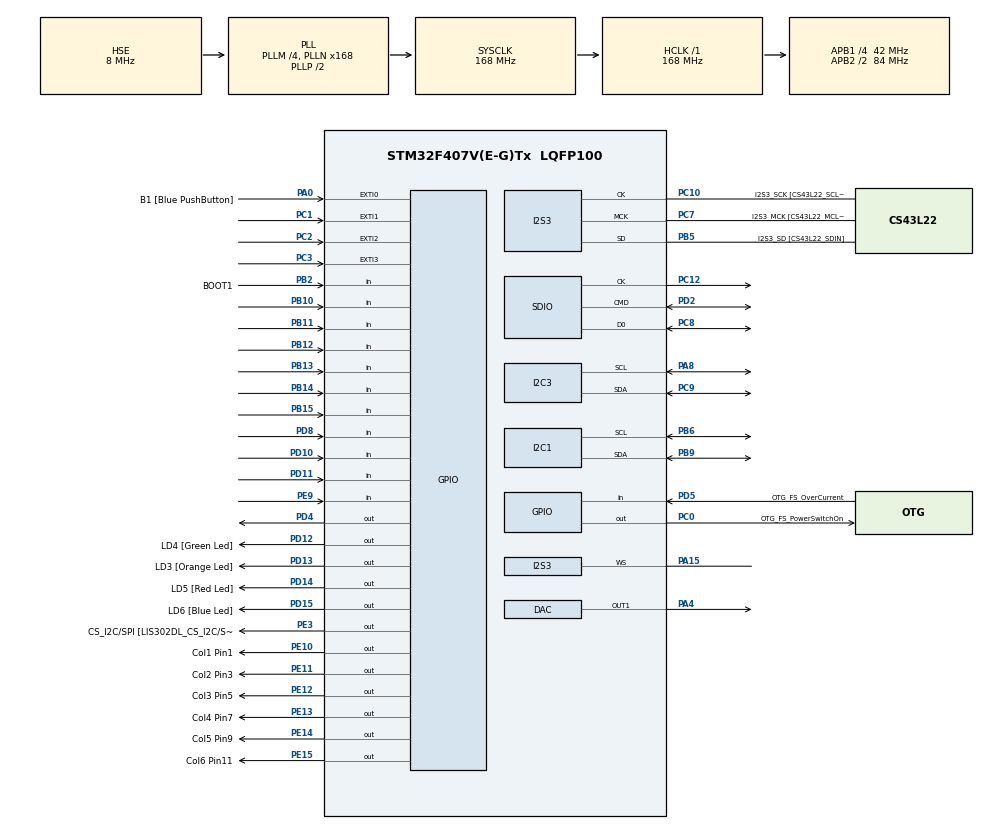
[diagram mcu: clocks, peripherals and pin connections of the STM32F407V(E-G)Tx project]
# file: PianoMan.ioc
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Dma.Request0=SPI3_TX
Dma.Request1=TIM1_UP
Dma.SPI3_TX.0.Direction=DMA_MEMORY_TO_PERIPH
Dma.SPI3_TX.0.FIFOMode=DMA_FIFOMODE_ENABLE
Dma.SPI3_TX.0.FIFOThreshold=DMA_FIFO_THRESHOLD_FULL
Dma.SPI3_TX.0.Instance=DMA1_Stream5
Dma.SPI3_TX.0.MemBurst=DMA_MBURST_SINGLE
Dma.SPI3_TX.0.MemDataAlignment=DMA_MDATAALIGN_BYTE
Dma.SPI3_TX.0.MemInc=DMA_MINC_ENABLE
Dma.SPI3_TX.0.Mode=DMA_CIRCULAR
Dma.SPI3_TX.0.PeriphBurst=DMA_PBURST_SINGLE
Dma.SPI3_TX.0.PeriphDataAlignment=DMA_PDATAALIGN_HALFWORD
Dma.SPI3_TX.0.PeriphInc=DMA_PINC_DISABLE
Dma.SPI3_TX.0.Priority=DMA_PRIORITY_LOW
Dma.TIM1_UP.1.Direction=DMA_PERIPH_TO_MEMORY
Dma.TIM1_UP.1.FIFOMode=DMA_FIFOMODE_DISABLE
Dma.TIM1_UP.1.Instance=DMA2_Stream5
Dma.TIM1_UP.1.MemDataAlignment=DMA_MDATAALIGN_HALFWORD
Dma.TIM1_UP.1.MemInc=DMA_MINC_ENABLE
Dma.TIM1_UP.1.Mode=DMA_NORMAL
Dma.TIM1_UP.1.PeriphDataAlignment=DMA_PDATAALIGN_HALFWORD
Dma.TIM1_UP.1.PeriphInc=DMA_PINC_DISABLE
Dma.TIM1_UP.1.Priority=DMA_PRIORITY_LOW
FATFS._MAX_SS=4096
I2S3.AudioFreq=I2S_AUDIOFREQ_48K
I2S3.ErrorAudioFreq=1.72 %
I2S3.FullDuplexMode=I2S_FULLDUPLEXMODE_DISABLE
I2S3.Instance=SPI$Index
I2S3.RealAudioFreq=48.828 KHz
I2S3.VirtualMode=I2S_MODE_MASTER
Mcu.Family=STM32F4
Mcu.Name=STM32F407V(E-G)Tx
Mcu.Package=LQFP100
NVIC.DMA1_Stream5_IRQn=true\:0\:0\:false\:false\:true\:false\:true
NVIC.DMA2_Stream5_IRQn=true\:0\:0\:false\:false\:true\:false\:true
NVIC.EXTI1_IRQn=true\:0\:0\:false\:false\:true\:true\:true
NVIC.EXTI2_IRQn=true\:0\:0\:false\:false\:true\:true\:true
NVIC.EXTI3_IRQn=true\:0\:0\:false\:false\:true\:true\:true
NVIC.PriorityGroup=NVIC_PRIORITYGROUP_0
PA0-WKUP.GPIO_Label=B1 [Blue PushButton]
PA0-WKUP.Signal=GPXTI0
PA15.Mode=Half_Duplex_Master
PA15.Signal=I2S3_WS
PA4.Signal=COMP_DAC1_group
PA8.Mode=I2C
PA8.Signal=I2C3_SCL
PB10.GPIO_PuPd=GPIO_PULLDOWN
PB10.Signal=GPIO_Input
PB11.GPIO_PuPd=GPIO_PULLDOWN
PB11.Signal=GPIO_Input
PB12.GPIO_PuPd=GPIO_PULLDOWN
PB12.Signal=GPIO_Input
PB13.GPIO_PuPd=GPIO_PULLDOWN
PB13.Signal=GPIO_Input
PB14.GPIO_PuPd=GPIO_PULLDOWN
PB14.Signal=GPIO_Input
PB15.GPIO_PuPd=GPIO_PULLDOWN
PB15.Signal=GPIO_Input
PB2.GPIO_Label=BOOT1
PB2.GPIO_Mode=GPIO_MODE_INPUT
PB2.GPIO_PuPd=GPIO_NOPULL
PB2.Signal=GPIO_Input
PB5.GPIO_Label=I2S3_SD [CS43L22_SDIN]
PB5.GPIO_Mode=GPIO_MODE_AF_PP
PB5.GPIO_PuPd=GPIO_NOPULL
PB5.GPIO_Speed=GPIO_SPEED_FREQ_LOW
PB5.Mode=Half_Duplex_Master
PB5.Signal=I2S3_SD
PB6.Mode=I2C
PB6.Signal=I2C1_SCL
PB9.Mode=I2C
PB9.Signal=I2C1_SDA
PC0.GPIO_Label=OTG_FS_PowerSwitchOn
PC0.GPIO_PuPd=GPIO_NOPULL
PC0.GPIO_Speed=GPIO_SPEED_FREQ_LOW
PC0.PinState=GPIO_PIN_SET
PC0.Signal=GPIO_Output
PC1.GPIO_PuPd=GPIO_PULLUP
PC1.Signal=GPXTI1
PC10.GPIO_Label=I2S3_SCK [CS43L22_SCLK]
PC10.GPIO_Mode=GPIO_MODE_AF_PP
PC10.GPIO_PuPd=GPIO_NOPULL
PC10.GPIO_Speed=GPIO_SPEED_FREQ_LOW
PC10.Mode=Half_Duplex_Master
PC10.Signal=I2S3_CK
PC12.Mode=SD_1_bit
PC12.Signal=SDIO_CK
PC2.GPIO_PuPd=GPIO_PULLUP
PC2.Signal=GPXTI2
PC3.GPIO_PuPd=GPIO_PULLUP
PC3.Signal=GPXTI3
PC7.GPIO_Label=I2S3_MCK [CS43L22_MCLK]
PC7.GPIO_Mode=GPIO_MODE_AF_PP
PC7.GPIO_PuPd=GPIO_NOPULL
PC7.GPIO_Speed=GPIO_SPEED_FREQ_LOW
PC7.Mode=Master_Clock_Activated
PC7.Signal=I2S3_MCK
PC8.Mode=SD_1_bit
PC8.Signal=SDIO_D0
PC9.Mode=I2C
PC9.Signal=I2C3_SDA
PD10.GPIO_PuPd=GPIO_PULLDOWN
PD10.Signal=GPIO_Input
PD11.GPIO_PuPd=GPIO_PULLDOWN
PD11.Signal=GPIO_Input
PD12.GPIO_Label=LD4 [Green Led]
PD12.GPIO_PuPd=GPIO_NOPULL
PD12.GPIO_Speed=GPIO_SPEED_FREQ_LOW
PD12.Signal=GPIO_Output
PD13.GPIO_Label=LD3 [Orange Led]
PD13.GPIO_PuPd=GPIO_NOPULL
PD13.GPIO_Speed=GPIO_SPEED_FREQ_LOW
PD13.Signal=GPIO_Output
PD14.GPIO_Label=LD5 [Red Led]
PD14.GPIO_PuPd=GPIO_NOPULL
PD14.GPIO_Speed=GPIO_SPEED_FREQ_LOW
PD14.Signal=GPIO_Output
PD15.GPIO_Label=LD6 [Blue Led]
PD15.GPIO_PuPd=GPIO_NOPULL
PD15.GPIO_Speed=GPIO_SPEED_FREQ_LOW
PD15.Signal=GPIO_Output
PD2.Mode=SD_1_bit
PD2.Signal=SDIO_CMD
PD4.Signal=GPIO_Output
PD5.GPIO_Label=OTG_FS_OverCurrent
PD5.GPIO_Mode=GPIO_MODE_INPUT
PD5.GPIO_PuPd=GPIO_NOPULL
PD5.Signal=GPIO_Input
PD8.GPIO_PuPd=GPIO_PULLDOWN
PD8.Signal=GPIO_Input
PE10.GPIO_Label=Col1 Pin1
PE10.GPIO_Speed=GPIO_SPEED_FREQ_LOW
PE10.Signal=GPIO_Output
PE11.GPIO_Label=Col2 Pin3
PE11.GPIO_Speed=GPIO_SPEED_FREQ_LOW
PE11.Signal=GPIO_Output
PE12.GPIO_Label=Col3 Pin5
PE12.GPIO_Speed=GPIO_SPEED_FREQ_LOW
PE12.Signal=GPIO_Output
PE13.GPIO_Label=Col4 Pin7
PE13.GPIO_Speed=GPIO_SPEED_FREQ_LOW
PE13.Signal=GPIO_Output
PE14.GPIO_Label=Col5 Pin9
PE14.GPIO_Speed=GPIO_SPEED_FREQ_LOW
PE14.Signal=GPIO_Output
PE15.GPIO_Label=Col6 Pin11
PE15.GPIO_Speed=GPIO_SPEED_FREQ_LOW
PE15.Signal=GPIO_Output
PE3.GPIO_Label=CS_I2C/SPI [LIS302DL_CS_I2C/SPI]
PE3.GPIO_PuPd=GPIO_NOPULL
PE3.GPIO_Speed=GPIO_SPEED_FREQ_LOW
PE3.Signal=GPIO_Output
PE9.Signal=GPIO_Input
PH0-OSC_IN.GPIO_Label=PH0-OSC_IN
PH0-OSC_IN.Mode=HSE-External-Oscillator
PH0-OSC_IN.Signal=RCC_OSC_IN
PH1-OSC_OUT.GPIO_Label=PH1-OSC_OUT
PH1-OSC_OUT.Mode=HSE-External-Oscillator
PH1-OSC_OUT.Signal=RCC_OSC_OUT
ProjectManager.HeapSize=0x200
ProjectManager.StackSize=0x400
ProjectManager.TargetToolchain=STM32CubeIDE
RCC.48MHZClocksFreq_Value=48000000
RCC.AHBFreq_Value=168000000
RCC.APB1CLKDivider=RCC_HCLK_DIV4
RCC.APB1Freq_Value=42000000
RCC.APB1TimFreq_Value=84000000
RCC.APB2CLKDivider=RCC_HCLK_DIV2
RCC.APB2Freq_Value=84000000
RCC.APB2TimFreq_Value=168000000
RCC.CortexFreq_Value=168000000
RCC.HCLKFreq_Value=168000000
RCC.HSE_VALUE=8000000
RCC.HSI_VALUE=16000000
RCC.LSE_VALUE=32768
RCC.PLLI2SN=50
RCC.PLLM=4
RCC.PLLN=168
RCC.PLLQ=7
RCC.PLLSourceVirtual=RCC_PLLSOURCE_HSE
RCC.SYSCLKFreq_VALUE=168000000
RCC.SYSCLKSource=RCC_SYSCLKSOURCE_PLLCLK
RCC.VCOOutputFreq_Value=336000000
SH.COMP_DAC1_group.0=DAC_OUT1,DAC_OUT1
VP_FATFS_VS_SDIO.Mode=SDIO
VP_TIM1_VS_ClockSourceINT.Mode=Internal
board=STM32F407G-DISC1

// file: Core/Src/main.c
/* USER CODE BEGIN Header */
/**
  ******************************************************************************
  * @file           : main.c
  * @brief          : Main program body
  ******************************************************************************
  * @attention
  *
  * <h2><center>&copy; Copyright (c) 2020 STMicroelectronics.
  * All rights reserved.</center></h2>
  *
  * This software component is licensed by ST under BSD 3-Clause license,
  * the "License"; You may not use this file except in compliance with the
  * License. You may obtain a copy of the License at:
  *                        opensource.org/licenses/BSD-3-Clause
  *
  ******************************************************************************
  */
/* USER CODE END Header */
#include "main.h"
#include "fatfs.h"

/* USER CODE BEGIN Includes */
#include <math.h>
#include <stdint.h>
#include <stdbool.h>
#include <string.h>
#include "midi.h"
#include "stm32f4xx_hal.h"
#include "stm32f4xx.h"
#include "MY_CS43L22.h"
#include "MY_Keypad4x4.h"
#include "visEffect.h"
#include "lcd16x2_i2c.h"
#include <stdint.h>
/* USER CODE END Includes */

DAC_HandleTypeDef hdac;

I2C_HandleTypeDef hi2c1;
I2C_HandleTypeDef hi2c3;

I2S_HandleTypeDef hi2s3;
DMA_HandleTypeDef hdma_spi3_tx;

SD_HandleTypeDef hsd;

TIM_HandleTypeDef htim1;
DMA_HandleTypeDef hdma_tim1_up;

void SystemClock_Config(void);
static void MX_GPIO_Init(void);
static void MX_DMA_Init(void);
static void MX_DAC_Init(void);
static void MX_I2C1_Init(void);
static void MX_I2S3_Init(void);
static void MX_TIM1_Init(void);
static void MX_SDIO_SD_Init(void);
static void MX_I2C3_Init(void);

/* USER CODE BEGIN 0 */
FATFS myFATFS;
FIL myFILE;
FIL myFILE2;
UINT readByte;
UINT writeByte;
char myRdData[15];
uint8_t byteBuf;
uint8_t readmidi[MAXMIDI];
bool mys[60];
//int ktime = 0;
int16_t I2Sdummy[4];
extern uint8_t midifile[];
MIDI_Player *mp;
bool gMode = true;
bool pMode = false;
bool tMode = false;

#define RATE 20000
#define N 100
short int wavetable[N];
#define VOICES 15

#define STEP1 1.05946309436
#define STEP2 (STEP1*STEP1)
#define STEP3 (STEP2*STEP1)
#define STEP4 (STEP3*STEP1)
#define STEP5 (STEP4*STEP1)
#define STEP6 (STEP5*STEP1)
#define STEP7 (STEP6*STEP1)
#define STEP8 (STEP7*STEP1)
#define STEP9 (STEP8*STEP1)

#define A14    ((13.75   * N/RATE) * (1<<16)) /* A0 */
#define A27    ((27.5    * N/RATE) * (1<<16)) /* A1 */
#define A55    ((55.0    * N/RATE) * (1<<16)) /* A2 */
#define A110   ((110.0   * N/RATE) * (1<<16)) /* A3 */
#define A220   ((220.0   * N/RATE) * (1<<16)) /* A4 */
#define A440   ((440.0   * N/RATE) * (1<<16)) /* A5 */
#define A880   ((880.0   * N/RATE) * (1<<16)) /* A6 */
#define A1760  ((1760.0  * N/RATE) * (1<<16)) /* A7 */
#define A3520  ((3520.0  * N/RATE) * (1<<16)) /* A8 */
#define A7040  ((7040.0  * N/RATE) * (1<<16)) /* A9 */
#define A14080 ((14080.0 * N/RATE) * (1<<16)) /* A10 */

const int step[] = {
        A14 / STEP9,    // C                         C-1
        A14 / STEP8,    // C# / Db 1
        A14 / STEP7,    // D       2
        A14 / STEP6,    // D# / Eb 3
        A14 / STEP5,    // E       4
        A14 / STEP4,    // F
        A14 / STEP3,    // F# / Gb
        A14 / STEP2,    // G
        A14 / STEP1,    // G# / Ab
        A14,            // A27                       A0
        A14 * STEP1,    // A# / Bb
        A14 * STEP2,    // B       11
        A14 * STEP3,    // C       12                C0
        A14 * STEP4,    // C# / Db 13
        A14 * STEP5,    // D
        A27 * STEP6,    // D# / Eb
        A27 / STEP5,    // E
        A27 / STEP4,    // F
        A27 / STEP3,    // F# / Gb
        A27 / STEP2,    // G
        A27 / STEP1,    // G# / Ab 20
        A27,            // A27                       A1
        A27 * STEP1,    // A# / Bb
        A27 * STEP2,    // B
        A27 * STEP3,    // C       24                C1
        A27 * STEP4,    // C# / Db 25 &&&&&&&
        A27 * STEP5,    // D       26
        A27 * STEP6,    // D# / Eb 27
        A55 / STEP5,    // E       28
        A55 / STEP4,    // F       29
        A55 / STEP3,    // F# / Gb 30
        A55 / STEP2,    // G       31
        A55 / STEP1,    // G# / Ab 32
        A55,            // A55     33                A2
        A55 * STEP1,    // A# / Bb 34
        A55 * STEP2,    // B       35
        A55 * STEP3,    // C       36                C2
        A55 * STEP4,    // C# / Db 37
        A55 * STEP5,    // D       38
        A55 * STEP6,    // D# / Eb 39
        A110 / STEP5,   // E       40
        A110 / STEP4,   // F       41
        A110 / STEP3,   // F# / Gb 42
        A110 / STEP2,   // G       43
        A110 / STEP1,   // G# / Ab 44
        A110,           // A110    45               A3
        A110 * STEP1,   // A# / Bb 46
        A110 * STEP2,   // B       47
        A110 * STEP3,   // C       48               C3
        A110 * STEP4,   // C# / Db 49
        A110 * STEP5,   // D       50
        A110 * STEP6,   // D# / Eb 51
        A220 / STEP5,   // E       52
        A220 / STEP4,   // F       53
        A220 / STEP3,   // F# / Gb 54
        A220 / STEP2,   // G       55
        A220 / STEP1,   // G# / Ab 56
        A220,           // A220    57               A4
        A220 * STEP1,   // A# / Bb 58
        A220 * STEP2,   // B       59
        A220 * STEP3,   // C (middle C) 60          C4 (element #60)
        A220 * STEP4,   // C# / Db 61
        A220 * STEP5,   // D       62
        A220 * STEP6,   // D# / Eb 63
        A440 / STEP5,   // E       64
        A440 / STEP4,   // F       65
        A440 / STEP3,   // F# / Gb 66
        A440 / STEP2,   // G       67
        A440 / STEP1,   // G# / Ab 68
        A440,           // A440    69               A5
        A440 * STEP1,   // A# / Bb 70
        A440 * STEP2,   // B       71
        A440 * STEP3,   // C       72               C5
        A440 * STEP4,   // C# / Db 73
        A440 * STEP5,   // D       74
        A440 * STEP6,   // D# / Eb 75
        A880 / STEP5,   // E       76
        A880 / STEP4,   // F       77
        A880 / STEP3,   // F# / Gb 78
        A880 / STEP2,   // G       79
        A880 / STEP1,   // G# / Ab 80
        A880,           // A880    81               A6
        A880 * STEP1,   // A# / Bb 82
        A880 * STEP2,   // B       83
        A880 * STEP3,   // C       84   &&&&        C6
        A880 * STEP4,   // C# / Db
        A880 * STEP5,   // D
        A880 * STEP6,   // D# / Eb
        A1760 / STEP5,  // E
        A1760 / STEP4,  // F
        A1760 / STEP3,  // F# / Gb
        A1760 / STEP2,  // G
        A1760 / STEP1,  // G# / Ab
        A1760,          // A1760                   A7
        A1760 * STEP1,  // A# / Bb
        A1760 * STEP2,  // B
        A1760 * STEP3,  // C       96              C7
        A1760 * STEP4,  // C# / Db
        A1760 * STEP5,  // D
        A1760 * STEP6,  // D# / Eb
        A3520 / STEP5,  // E
        A3520 / STEP4,  // F
        A3520 / STEP3,  // F# / Gb
        A3520 / STEP2,  // G
        A3520 / STEP1,  // G# / Ab
        A3520,          // A3520                   A8
        A3520 * STEP1,  // A# / Bb
        A3520 * STEP2,  // B
        A3520 * STEP3,  // C       108             C8
        A3520 * STEP4,  // C# / Db
        A3520 * STEP5,  // D
        A3520 * STEP6,  // D# / Eb
        A7040 / STEP5,  // E
        A7040 / STEP4,  // F
        A7040 / STEP3,  // F# / Gb
        A7040 / STEP2,  // G
        A7040 / STEP1,  // G# / Ab
        A7040,          // A7040                   A9
        A7040 * STEP1,  // A# / Bb
        A7040 * STEP2,  // B
        A7040 * STEP3,  // C       120             C9
        A7040 * STEP4,  // C# / Db
        A7040 * STEP5,  // D
        A7040 * STEP6,  // D# / Eb
        A14080 / STEP5, // E
        A14080 / STEP4, // F
        A14080 / STEP3, // F# / Gb
        A14080 / STEP2, // G       127
};

struct {
    uint8_t in_use;
    uint8_t note;
    uint8_t chan;
    uint8_t volume;
    int     step;
    int     offset;
} voice[VOICES];

struct {
    //uint8_t in_use;
    //uint8_t note;
    int 	time;
    //int     step;
    int     offset;
} kvoice[60];

void TIM6_DAC_IRQHandler(void) {

	clearLED();
    DAC->SWTRIGR |= DAC_SWTRIGR_SWTRIG1;
    TIM6->SR &= ~TIM_SR_UIF;

    int x;
    int sample = 0;
    if(gMode){
        for(x=0; x < 60; x++) {

        		if (mys[x]) {
        				setRed(x);
                		//kvoice[x].time = ktime;
                		kvoice[x].offset += step[x+25];
                		if (kvoice[x].offset >= N<<16)
                		kvoice[x].offset -= N<<16;

                    sample += wavetable[kvoice[x].offset>>16];
                }
        }
    }
    else if(tMode){
    	for(x=0; x < 60; x++) {
    	        	if (mys[x]) {

    	                	//kvoice[x].time = ktime;
    	                	kvoice[x].offset += step[x+25];
    	                	if (kvoice[x].offset >= N<<16)
    	                	kvoice[x].offset -= N<<16;
    	                    sample += wavetable[kvoice[x].offset>>16];
    	            }

    	}
    	for(x=0; x < 15; x++) {
    				if (voice[x].in_use) {
    					setRed(voice[x].note-25);
    				}
    	}
    }
    else{
		for(x=0; x < sizeof(voice)/sizeof(voice[0]); x++) {
			if (voice[x].in_use) {
				setRed(voice[x].note-25);
					voice[x].offset += voice[x].step;
					if (voice[x].offset >= N<<16)
						voice[x].offset -= N<<16;
					sample += wavetable[voice[x].offset>>16];
			}
		}
    }

    sample =  sample / 128 + 2048;
    if (sample > 4095) sample = 4095;
    else if (sample < 0) sample = 0;
    DAC->DHR12R1 = sample;
}

void init_DAC(void) {
	//RCC->APB2ENR |= RCC_APB2ENR_SYSCFGEN;
    RCC->AHB1ENR |= RCC_AHB1ENR_GPIOAEN;
    GPIOA->MODER |= 0x300;
    RCC->APB1ENR |= RCC_APB1ENR_DACEN;
    DAC->CR &= ~DAC_CR_EN1; //disables the DAC so it can be messed with
    DAC->CR &= ~DAC_CR_BOFF1;
    DAC->CR |= DAC_CR_TEN1;
    DAC->CR |= DAC_CR_TSEL1;//software
    DAC->CR |= DAC_CR_EN1; //re-enables the DAC

}

void init_TIM6(void) {

    RCC->APB1ENR |= RCC_APB1ENR_TIM6EN;
    TIM6->PSC = 419;
    TIM6->ARR = ((84000000 / (TIM6->PSC + 1)) / RATE) - 1;
    TIM6->DIER |= TIM_DIER_UIE;
    TIM6->CR1 |= TIM_CR1_CEN;
    NVIC_EnableIRQ(TIM6_DAC_IRQn);

    NVIC_SetPriority(TIM6_DAC_IRQn,0);

}

void TIM2_IRQHandler(void)
{
    TIM2->SR &= ~TIM_SR_UIF;
    if(!gMode)
    	midi_play();
}

void init_TIM2(int n) {
    RCC->APB1ENR |= RCC_APB1ENR_TIM2EN;
    TIM2->PSC = 83;
    TIM2->ARR = n-1;
    TIM2->DIER |= TIM_DIER_UIE;
    TIM2->CR1 |= TIM_CR1_ARPE;
    TIM2->CR1 |= TIM_CR1_CEN;
    NVIC_EnableIRQ(TIM2_IRQn);

    NVIC_SetPriority(TIM2_IRQn,3);
}

void init_hybrid(void) {
    int x;
    for(x=0; x<N; x++)
        wavetable[x] = 16383  * sin(2 * M_PI * x / N) +  16383.0 * (x - N/2) / (1.0*N);
}
int16_t *channel_wavetable[20]; // It's zero, by default.

// Find the voice current playing a note, and turn it off.
void note_off(int time, int chan, int key, int velo)
{
    int n;
    for(n=0; n<sizeof voice / sizeof voice[0]; n++) {
        if (voice[n].in_use && voice[n].note == key) {
            voice[n].in_use = 0; // disable it first...
            voice[n].chan = 0;   // ...then clear its values
            voice[n].note = key;
            voice[n].step = step[key];
            return;
        }
    }
}

// Find an unused voice, and use it to play a note.
void note_on(int time, int chan, int key, int velo)
{
    if (velo == 0) {
        note_off(time, chan, key, velo);
        return;
    }
    int n;
    for(n=0; n<sizeof voice / sizeof voice[0]; n++) {
        if (voice[n].in_use == 0) {
            voice[n].note = key;
            voice[n].step = step[key];
            voice[n].offset = 0;
            voice[n].chan = chan;
            voice[n].volume = velo;
            voice[n].in_use = 1;
            return;
        }
    }
}

void set_tempo(int time, int value, const MIDI_Header *hdr)
{
    TIM2->ARR = value/hdr->divisions - 1;
}

/* USER CODE END 0 */

int main(void)
{

  /* MCU Configuration--------------------------------------------------------*/

  /* Reset of all peripherals, Initializes the Flash interface and the Systick. */
  HAL_Init();

  /* Configure the system clock */
  SystemClock_Config();

  /* Initialize all configured peripherals */
  MX_GPIO_Init();
  MX_DMA_Init();
  MX_DAC_Init();
  MX_I2C1_Init();
  MX_I2S3_Init();
  MX_TIM1_Init();
  MX_SDIO_SD_Init();
  MX_FATFS_Init();
  MX_I2C3_Init();
  /* USER CODE BEGIN 2 */
  if(lcd16x2_i2c_init(&hi2c3)){
  	  HAL_GPIO_WritePin(GPIOD, GPIO_PIN_12, GPIO_PIN_SET);
  }
  lcd16x2_i2c_1stLine();
  lcd16x2_i2c_printf("   Welcome to");
  lcd16x2_i2c_2ndLine();
  lcd16x2_i2c_printf("    PianoMan!");

  visInit();
  Keypad4x4_Init();
  //audio codec inits
  CS43_Init(hi2c1,MODE_ANALOG);
  CS43_SetVolume(60);
  CS43_Enable_RightLeft(CS43_RIGHT_LEFT);
  CS43_Start();
  HAL_I2S_Transmit_DMA(&hi2s3, (uint16_t *)I2Sdummy,4);

  memset(myRdData,0,15);
  memset(readmidi,0,MAXMIDI);

  if(f_mount(&myFATFS, (TCHAR const*)SDPath, 1) == FR_OK){
  	  HAL_GPIO_TogglePin(GPIOD, GPIO_PIN_12);
  	  //char myPath[] = "TEST.TXT\0";
  	  //char myRdData[15];

  	  /*if(f_open(&myFILE, "SD_TEST.TXT", FA_OPEN_ALWAYS | FA_READ) == FR_OK){
  		//HAL_GPIO_TogglePin(GPIOD, GPIO_PIN_14);
  		  if(f_read(&myFILE, &myRdData, 15, &readByte) == FR_OK){
  			//HAL_GPIO_TogglePin(GPIOD, GPIO_PIN_14);
  			lcd16x2_i2c_1stLine();
  			lcd16x2_i2c_printf("                ");
  			lcd16x2_i2c_1stLine();
  			lcd16x2_i2c_printf(myRdData);
  			lcd16x2_i2c_2ndLine();
  			lcd16x2_i2c_printf("                ");
  		  }
  		  f_close(&myFILE);
  	  }

  	  int fr = (int)f_open(&myFILE, "SONG.MID", FA_READ);
  	lcd16x2_i2c_1stLine();
    	  	  	  			lcd16x2_i2c_printf("%d",fr);*/
  	  if(f_open(&myFILE, "SONG.MID", FA_READ) == FR_OK){
  		  	  readByte = 1;
  		  	  int idx = 0;
  	  		  while(readByte&&idx<MAXMIDI-6){
  	  			//HAL_GPIO_TogglePin(GPIOD, GPIO_PIN_14);
  	  			f_read(&myFILE, &byteBuf, 1, &readByte);
  	  			readmidi[idx] = byteBuf;
  	  			idx++;
  	  			//lcd16x2_i2c_1stLine();
  	  			//lcd16x2_i2c_printf("%d",idx);
  	  		  }
  	  		f_close(&myFILE);
  	  }
  	  HAL_Delay(1000);
  	  //HAL_GPIO_TogglePin(GPIOD, GPIO_PIN_14);
/*
  	  //f_open(&myFILE2, "SD_TEST_2.TXT", FA_CREATE_ALWAYS | FA_WRITE);
  	  if(f_open(&myFILE2, "SD.TXT", FA_CREATE_ALWAYS | FA_WRITE) == FR_OK){
  		  HAL_GPIO_TogglePin(GPIOD, GPIO_PIN_14);
  		  if(f_write(&myFILE2, &myRdData, readByte, &writeByte) == FR_OK){
  			//lcd16x2_i2c_2ndLine();
  			//lcd16x2_i2c_printf("%d",writeByte);
  		  }
  		  f_close(&myFILE2);
  	  }

  	  //f_read(&myFILE, myRdData, 15, &testByte);
  	  HAL_Delay(1000);*/
    }

  //midi inits
   init_hybrid();
   init_DAC();
   //init_DMA();
   init_TIM6();
   //mp = midi_init(midifile);
   mp = midi_init(readmidi);
   // The default rate for a MIDI file is 2 beats per second
   // with 48 ticks per beat.  That's 500000/48 microseconds.
   init_TIM2(10417);

	lcd16x2_i2c_1stLine();
	lcd16x2_i2c_printf("General Mode    ");
	lcd16x2_i2c_2ndLine();
	lcd16x2_i2c_printf("                ");

	gMode = true;
	pMode = false;
	tMode = false;

   /*voice[0].offset = 0;
   voice[0].step = step[60];
   */
  /* USER CODE END 2 */

  /* Infinite loop */
  for(;;)
  {

    /* USER CODE BEGIN 3 */
	  if(!pMode){
		  Keypad4x4_ReadKeypad(mys);
	  }
	  visHandle();
	  HAL_Delay(100);
  }
  /* USER CODE END 3 */
}

void SystemClock_Config(void)
{
  RCC_OscInitTypeDef RCC_OscInitStruct = {0};
  RCC_ClkInitTypeDef RCC_ClkInitStruct = {0};
  RCC_PeriphCLKInitTypeDef PeriphClkInitStruct = {0};

  /** Configure the main internal regulator output voltage
  */
  __HAL_RCC_PWR_CLK_ENABLE();
  __HAL_PWR_VOLTAGESCALING_CONFIG(PWR_REGULATOR_VOLTAGE_SCALE1);
  /** Initializes the RCC Oscillators according to the specified parameters
  * in the RCC_OscInitTypeDef structure.
  */
  RCC_OscInitStruct.OscillatorType = RCC_OSCILLATORTYPE_HSE;
  RCC_OscInitStruct.HSEState = RCC_HSE_ON;
  RCC_OscInitStruct.PLL.PLLState = RCC_PLL_ON;
  RCC_OscInitStruct.PLL.PLLSource = RCC_PLLSOURCE_HSE;
  RCC_OscInitStruct.PLL.PLLM = 4;
  RCC_OscInitStruct.PLL.PLLN = 168;
  RCC_OscInitStruct.PLL.PLLP = RCC_PLLP_DIV2;
  RCC_OscInitStruct.PLL.PLLQ = 7;
  if (HAL_RCC_OscConfig(&RCC_OscInitStruct) != HAL_OK)
  {
    Error_Handler();
  }
  /** Initializes the CPU, AHB and APB buses clocks
  */
  RCC_ClkInitStruct.ClockType = RCC_CLOCKTYPE_HCLK|RCC_CLOCKTYPE_SYSCLK
                              |RCC_CLOCKTYPE_PCLK1|RCC_CLOCKTYPE_PCLK2;
  RCC_ClkInitStruct.SYSCLKSource = RCC_SYSCLKSOURCE_PLLCLK;
  RCC_ClkInitStruct.AHBCLKDivider = RCC_SYSCLK_DIV1;
  RCC_ClkInitStruct.APB1CLKDivider = RCC_HCLK_DIV4;
  RCC_ClkInitStruct.APB2CLKDivider = RCC_HCLK_DIV2;

  if (HAL_RCC_ClockConfig(&RCC_ClkInitStruct, FLASH_LATENCY_5) != HAL_OK)
  {
    Error_Handler();
  }
  PeriphClkInitStruct.PeriphClockSelection = RCC_PERIPHCLK_I2S;
  PeriphClkInitStruct.PLLI2S.PLLI2SN = 50;
  PeriphClkInitStruct.PLLI2S.PLLI2SR = 2;
  if (HAL_RCCEx_PeriphCLKConfig(&PeriphClkInitStruct) != HAL_OK)
  {
    Error_Handler();
  }
}

static void MX_DAC_Init(void)
{

  DAC_ChannelConfTypeDef sConfig = {0};

  /** DAC Initialization
  */
  hdac.Instance = DAC;
  if (HAL_DAC_Init(&hdac) != HAL_OK)
  {
    Error_Handler();
  }
  /** DAC channel OUT1 config
  */
  sConfig.DAC_Trigger = DAC_TRIGGER_NONE;
  sConfig.DAC_OutputBuffer = DAC_OUTPUTBUFFER_ENABLE;
  if (HAL_DAC_ConfigChannel(&hdac, &sConfig, DAC_CHANNEL_1) != HAL_OK)
  {
    Error_Handler();
  }

}

static void MX_I2C1_Init(void)
{

  hi2c1.Instance = I2C1;
  hi2c1.Init.ClockSpeed = 100000;
  hi2c1.Init.DutyCycle = I2C_DUTYCYCLE_2;
  hi2c1.Init.OwnAddress1 = 0;
  hi2c1.Init.AddressingMode = I2C_ADDRESSINGMODE_7BIT;
  hi2c1.Init.DualAddressMode = I2C_DUALADDRESS_DISABLE;
  hi2c1.Init.OwnAddress2 = 0;
  hi2c1.Init.GeneralCallMode = I2C_GENERALCALL_DISABLE;
  hi2c1.Init.NoStretchMode = I2C_NOSTRETCH_DISABLE;
  if (HAL_I2C_Init(&hi2c1) != HAL_OK)
  {
    Error_Handler();
  }

}

static void MX_I2C3_Init(void)
{

  hi2c3.Instance = I2C3;
  hi2c3.Init.ClockSpeed = 100000;
  hi2c3.Init.DutyCycle = I2C_DUTYCYCLE_2;
  hi2c3.Init.OwnAddress1 = 0;
  hi2c3.Init.AddressingMode = I2C_ADDRESSINGMODE_7BIT;
  hi2c3.Init.DualAddressMode = I2C_DUALADDRESS_DISABLE;
  hi2c3.Init.OwnAddress2 = 0;
  hi2c3.Init.GeneralCallMode = I2C_GENERALCALL_DISABLE;
  hi2c3.Init.NoStretchMode = I2C_NOSTRETCH_DISABLE;
  if (HAL_I2C_Init(&hi2c3) != HAL_OK)
  {
    Error_Handler();
  }

}

static void MX_I2S3_Init(void)
{

  hi2s3.Instance = SPI3;
  hi2s3.Init.Mode = I2S_MODE_MASTER_TX;
  hi2s3.Init.Standard = I2S_STANDARD_PHILIPS;
  hi2s3.Init.DataFormat = I2S_DATAFORMAT_16B;
  hi2s3.Init.MCLKOutput = I2S_MCLKOUTPUT_ENABLE;
  hi2s3.Init.AudioFreq = I2S_AUDIOFREQ_48K;
  hi2s3.Init.CPOL = I2S_CPOL_LOW;
  hi2s3.Init.ClockSource = I2S_CLOCK_PLL;
  hi2s3.Init.FullDuplexMode = I2S_FULLDUPLEXMODE_DISABLE;
  if (HAL_I2S_Init(&hi2s3) != HAL_OK)
  {
    Error_Handler();
  }

}

static void MX_SDIO_SD_Init(void)
{

  hsd.Instance = SDIO;
  hsd.Init.ClockEdge = SDIO_CLOCK_EDGE_RISING;
  hsd.Init.ClockBypass = SDIO_CLOCK_BYPASS_DISABLE;
  hsd.Init.ClockPowerSave = SDIO_CLOCK_POWER_SAVE_DISABLE;
  hsd.Init.BusWide = SDIO_BUS_WIDE_1B;
  hsd.Init.HardwareFlowControl = SDIO_HARDWARE_FLOW_CONTROL_DISABLE;
  hsd.Init.ClockDiv = 0;

}

static void MX_TIM1_Init(void)
{

  TIM_ClockConfigTypeDef sClockSourceConfig = {0};
  TIM_MasterConfigTypeDef sMasterConfig = {0};

  htim1.Instance = TIM1;
  htim1.Init.Prescaler = 0;
  htim1.Init.CounterMode = TIM_COUNTERMODE_UP;
  htim1.Init.Period = 65535;
  htim1.Init.ClockDivision = TIM_CLOCKDIVISION_DIV1;
  htim1.Init.RepetitionCounter = 0;
  htim1.Init.AutoReloadPreload = TIM_AUTORELOAD_PRELOAD_DISABLE;
  if (HAL_TIM_Base_Init(&htim1) != HAL_OK)
  {
    Error_Handler();
  }
  sClockSourceConfig.ClockSource = TIM_CLOCKSOURCE_INTERNAL;
  if (HAL_TIM_ConfigClockSource(&htim1, &sClockSourceConfig) != HAL_OK)
  {
    Error_Handler();
  }
  sMasterConfig.MasterOutputTrigger = TIM_TRGO_RESET;
  sMasterConfig.MasterSlaveMode = TIM_MASTERSLAVEMODE_DISABLE;
  if (HAL_TIMEx_MasterConfigSynchronization(&htim1, &sMasterConfig) != HAL_OK)
  {
    Error_Handler();
  }

}

static void MX_DMA_Init(void)
{

  /* DMA controller clock enable */
  __HAL_RCC_DMA1_CLK_ENABLE();
  __HAL_RCC_DMA2_CLK_ENABLE();

  /* DMA interrupt init */
  /* DMA1_Stream5_IRQn interrupt configuration */
  HAL_NVIC_SetPriority(DMA1_Stream5_IRQn, 0, 0);
  HAL_NVIC_EnableIRQ(DMA1_Stream5_IRQn);
  /* DMA2_Stream5_IRQn interrupt configuration */
  HAL_NVIC_SetPriority(DMA2_Stream5_IRQn, 0, 0);
  HAL_NVIC_EnableIRQ(DMA2_Stream5_IRQn);

}

static void MX_GPIO_Init(void)
{
  GPIO_InitTypeDef GPIO_InitStruct = {0};

  /* GPIO Ports Clock Enable */
  __HAL_RCC_GPIOE_CLK_ENABLE();
  __HAL_RCC_GPIOH_CLK_ENABLE();
  __HAL_RCC_GPIOC_CLK_ENABLE();
  __HAL_RCC_GPIOA_CLK_ENABLE();
  __HAL_RCC_GPIOB_CLK_ENABLE();
  __HAL_RCC_GPIOD_CLK_ENABLE();

  /*Configure GPIO pin Output Level */
  HAL_GPIO_WritePin(GPIOE, CS_I2C_SPI_Pin|Col1_Pin1_Pin|Col2_Pin3_Pin|Col3_Pin5_Pin
                          |Col4_Pin7_Pin|Col5_Pin9_Pin|Col6_Pin11_Pin, GPIO_PIN_RESET);

  /*Configure GPIO pin Output Level */
  HAL_GPIO_WritePin(OTG_FS_PowerSwitchOn_GPIO_Port, OTG_FS_PowerSwitchOn_Pin, GPIO_PIN_SET);

  /*Configure GPIO pin Output Level */
  HAL_GPIO_WritePin(GPIOD, LD4_Pin|LD3_Pin|LD5_Pin|LD6_Pin
                          |GPIO_PIN_4, GPIO_PIN_RESET);

  /*Configure GPIO pins : CS_I2C_SPI_Pin Col1_Pin1_Pin Col2_Pin3_Pin Col3_Pin5_Pin
                           Col4_Pin7_Pin Col5_Pin9_Pin Col6_Pin11_Pin */
  GPIO_InitStruct.Pin = CS_I2C_SPI_Pin|Col1_Pin1_Pin|Col2_Pin3_Pin|Col3_Pin5_Pin
                          |Col4_Pin7_Pin|Col5_Pin9_Pin|Col6_Pin11_Pin;
  GPIO_InitStruct.Mode = GPIO_MODE_OUTPUT_PP;
  GPIO_InitStruct.Pull = GPIO_NOPULL;
  GPIO_InitStruct.Speed = GPIO_SPEED_FREQ_LOW;
  HAL_GPIO_Init(GPIOE, &GPIO_InitStruct);

  /*Configure GPIO pin : OTG_FS_PowerSwitchOn_Pin */
  GPIO_InitStruct.Pin = OTG_FS_PowerSwitchOn_Pin;
  GPIO_InitStruct.Mode = GPIO_MODE_OUTPUT_PP;
  GPIO_InitStruct.Pull = GPIO_NOPULL;
  GPIO_InitStruct.Speed = GPIO_SPEED_FREQ_LOW;
  HAL_GPIO_Init(OTG_FS_PowerSwitchOn_GPIO_Port, &GPIO_InitStruct);

  /*Configure GPIO pins : PC1 PC2 PC3 */
  GPIO_InitStruct.Pin = GPIO_PIN_1|GPIO_PIN_2|GPIO_PIN_3;
  GPIO_InitStruct.Mode = GPIO_MODE_IT_RISING;
  GPIO_InitStruct.Pull = GPIO_PULLUP;
  HAL_GPIO_Init(GPIOC, &GPIO_InitStruct);

  /*Configure GPIO pin : B1_Pin */
  GPIO_InitStruct.Pin = B1_Pin;
  GPIO_InitStruct.Mode = GPIO_MODE_IT_RISING;
  GPIO_InitStruct.Pull = GPIO_NOPULL;
  HAL_GPIO_Init(B1_GPIO_Port, &GPIO_InitStruct);

  /*Configure GPIO pin : BOOT1_Pin */
  GPIO_InitStruct.Pin = BOOT1_Pin;
  GPIO_InitStruct.Mode = GPIO_MODE_INPUT;
  GPIO_InitStruct.Pull = GPIO_NOPULL;
  HAL_GPIO_Init(BOOT1_GPIO_Port, &GPIO_InitStruct);

  /*Configure GPIO pin : PE9 */
  GPIO_InitStruct.Pin = GPIO_PIN_9;
  GPIO_InitStruct.Mode = GPIO_MODE_INPUT;
  GPIO_InitStruct.Pull = GPIO_NOPULL;
  HAL_GPIO_Init(GPIOE, &GPIO_InitStruct);

  /*Configure GPIO pins : PB10 PB11 PB12 PB13
                           PB14 PB15 */
  GPIO_InitStruct.Pin = GPIO_PIN_10|GPIO_PIN_11|GPIO_PIN_12|GPIO_PIN_13
                          |GPIO_PIN_14|GPIO_PIN_15;
  GPIO_InitStruct.Mode = GPIO_MODE_INPUT;
  GPIO_InitStruct.Pull = GPIO_PULLDOWN;
  HAL_GPIO_Init(GPIOB, &GPIO_InitStruct);

  /*Configure GPIO pins : PD8 PD10 PD11 */
  GPIO_InitStruct.Pin = GPIO_PIN_8|GPIO_PIN_10|GPIO_PIN_11;
  GPIO_InitStruct.Mode = GPIO_MODE_INPUT;
  GPIO_InitStruct.Pull = GPIO_PULLDOWN;
  HAL_GPIO_Init(GPIOD, &GPIO_InitStruct);

  /*Configure GPIO pins : LD4_Pin LD3_Pin LD5_Pin LD6_Pin
                           PD4 */
  GPIO_InitStruct.Pin = LD4_Pin|LD3_Pin|LD5_Pin|LD6_Pin
                          |GPIO_PIN_4;
  GPIO_InitStruct.Mode = GPIO_MODE_OUTPUT_PP;
  GPIO_InitStruct.Pull = GPIO_NOPULL;
  GPIO_InitStruct.Speed = GPIO_SPEED_FREQ_LOW;
  HAL_GPIO_Init(GPIOD, &GPIO_InitStruct);

  /*Configure GPIO pin : OTG_FS_OverCurrent_Pin */
  GPIO_InitStruct.Pin = OTG_FS_OverCurrent_Pin;
  GPIO_InitStruct.Mode = GPIO_MODE_INPUT;
  GPIO_InitStruct.Pull = GPIO_NOPULL;
  HAL_GPIO_Init(OTG_FS_OverCurrent_GPIO_Port, &GPIO_InitStruct);

  /* EXTI interrupt init*/
  HAL_NVIC_SetPriority(EXTI1_IRQn, 0, 0);
  HAL_NVIC_EnableIRQ(EXTI1_IRQn);

  HAL_NVIC_SetPriority(EXTI2_IRQn, 0, 0);
  HAL_NVIC_EnableIRQ(EXTI2_IRQn);

  HAL_NVIC_SetPriority(EXTI3_IRQn, 0, 0);
  HAL_NVIC_EnableIRQ(EXTI3_IRQn);

}

/* USER CODE BEGIN 4 */
void HAL_GPIO_EXTI_Callback( uint16_t GPIO_Pin)
{
	if(GPIO_Pin == GPIO_PIN_1){
	   //This block will be triggered after pin activated.
		//HAL_GPIO_WritePin(LD3_GPIO_Port, LD3_Pin, GPIO_PIN_SET);
		//HAL_Delay(1);
		//HAL_GPIO_WritePin(LD3_GPIO_Port, LD3_Pin, GPIO_PIN_RESET);
		//lcd16x2_i2c_clear();
		lcd16x2_i2c_1stLine();
		lcd16x2_i2c_printf("General Mode    ");
		lcd16x2_i2c_2ndLine();
		lcd16x2_i2c_printf("                ");
		gMode = true;
		pMode = false;
		tMode = false;
		memset(mys, 0, sizeof mys);
		clearLED();
	}
	else if(GPIO_Pin == GPIO_PIN_2){
		   //This block will be triggered after pin activated.
			//HAL_GPIO_WritePin(LD3_GPIO_Port, LD3_Pin, GPIO_PIN_SET);
			//HAL_Delay(1);
			//HAL_GPIO_WritePin(LD3_GPIO_Port, LD3_Pin, GPIO_PIN_RESET);
		//lcd16x2_i2c_clear();
		lcd16x2_i2c_1stLine();
		lcd16x2_i2c_printf("Playback Mode   ");
		lcd16x2_i2c_2ndLine();
		lcd16x2_i2c_printf("                ");
		gMode = false;
		pMode = true;
		tMode = false;
		memset(mys, 0, sizeof mys);
		clearLED();
		memset(voice, 0, sizeof voice);
		mp->nexttick = MAXTICKS;
		mp = midi_init(readmidi);
		}
	else if(GPIO_Pin == GPIO_PIN_3){
		   //This block will be triggered after pin activated.
			//HAL_GPIO_WritePin(LD3_GPIO_Port, LD3_Pin, GPIO_PIN_SET);
			//HAL_Delay(1);
			//HAL_GPIO_WritePin(LD3_GPIO_Port, LD3_Pin, GPIO_PIN_RESET);
		//lcd16x2_i2c_clear();
		lcd16x2_i2c_1stLine();
		lcd16x2_i2c_printf("Traning Mode    ");
		lcd16x2_i2c_2ndLine();
		lcd16x2_i2c_printf("                ");
		gMode = false;
		pMode = false;
		tMode = true;
		memset(mys, 0, sizeof mys);
		clearLED();
		memset(voice, 0, sizeof voice);
		mp->nexttick = MAXTICKS;
		mp = midi_init(readmidi);
		}
	else{
		//Do not do anything when else.
		__NOP();
	}
}
/* USER CODE END 4 */

void Error_Handler(void)
{
}

/************************ (C) COPYRIGHT STMicroelectronics *****END OF FILE****/
